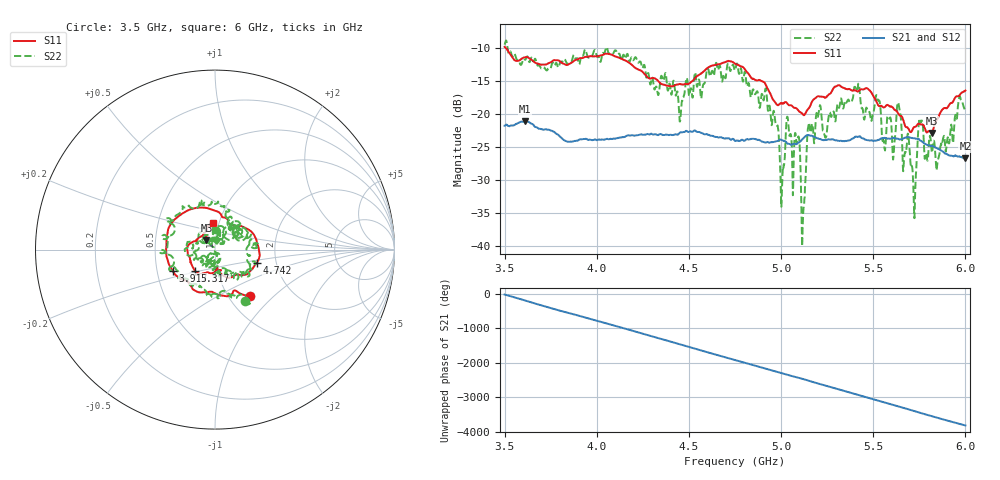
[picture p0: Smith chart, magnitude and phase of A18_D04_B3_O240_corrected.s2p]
! Created with skrf 1.9.0 (http://scikit-rf.org).
# Hz S RI R 50.0
!freq ReS11 ImS11 ReS21 ImS21 ReS12 ImS12 ReS22 ImS22
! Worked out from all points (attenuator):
!   1601 points, 3.5 GHz to 6 GHz, reference 50 ohm
!   highest |S21| = -21.13 dB at 3.611 GHz (marker M1); lowest = -26.8 dB at 6 GHz (marker M2)
!   lowest |S11| = -22.9 dB at 5.817 GHz (marker M3), VSWR 1.15, Z = 45.2 + j4.84 ohm
!   |S11| at or under -10 dB: 3.505 GHz to end of sweep
!   |S22| runs from -40.1 to -8.9 dB; largest |S21 - S12| = 0.0011
!   S11 on the Smith chart (normalised r, x): 3.5 GHz: 1.25, -0.72; 3.917 GHz: 0.60, -0.16; 4.742 GHz: 1.58, -0.25; 5.317 GHz: 0.78, -0.19; 6 GHz: 0.94, +0.29
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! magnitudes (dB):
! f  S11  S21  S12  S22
! 3.5 GHz  -9.9  -21.8  -21.8  -9.5
! 3.611 GHz  -11.4  -21.1  -21.1  -11.8
! 3.917 GHz  -11.6  -23.9  -23.8  -11.2
! 4.334 GHz  -15.1  -23.2  -23.1  -17.2
! 4.455 GHz  -15.5  -22.8  -22.8  -20.6
! 4.742 GHz  -12.2  -23.8  -23.8  -12.7
! 4.75 GHz  -12.4  -24.1  -24.0  -13.4
! 4.923 GHz  -16.0  -24.3  -24.3  -17.7
! 5.006 GHz  -18.5  -24.0  -23.9  -29.8
! 5.036 GHz  -18.6  -24.5  -24.4  -20.5
! 5.088 GHz  -19.3  -24.5  -24.5  -24.3
! 5.12 GHz  -20.1  -23.7  -23.6  -35.0
! 5.147 GHz  -19.3  -23.2  -23.2  -22.1
! 5.167 GHz  -18.2  -23.3  -23.3  -21.7
! 5.317 GHz  -15.7  -24.1  -24.1  -18.9
! 5.584 GHz  -18.8  -23.8  -23.7  -20.5
! 5.611 GHz  -19.2  -23.6  -23.6  -26.3
! 5.639 GHz  -20.1  -23.9  -23.8  -18.7
! 5.72 GHz  -22.1  -23.7  -23.7  -33.6
! 5.756 GHz  -21.6  -24.1  -24.0  -21.4
! 5.817 GHz  -22.9  -24.9  -24.8  -25.8
! 6 GHz  -16.5  -26.8  -26.7  -19.4
